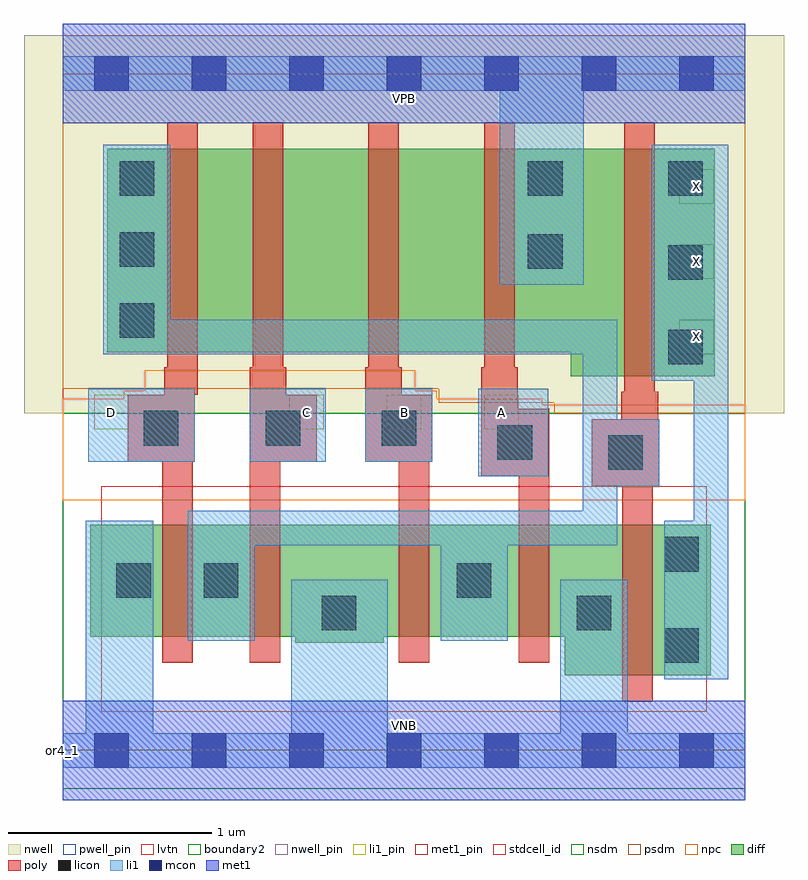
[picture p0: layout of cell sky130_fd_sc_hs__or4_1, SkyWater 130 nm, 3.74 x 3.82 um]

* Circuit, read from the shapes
.subckt sky130_fd_sc_hs__or4_1 A B C D VGND VNB VPB VPWR X
XM1 n1 D VGND VNB sky130_fd_pr__nfet_01v8_lvt w=0.55 l=0.15
XM2 VGND C n1 VNB sky130_fd_pr__nfet_01v8_lvt w=0.55 l=0.15
XM3 n1 B VGND VNB sky130_fd_pr__nfet_01v8_lvt w=0.55 l=0.15
XM4 VGND A n1 VNB sky130_fd_pr__nfet_01v8_lvt w=0.55 l=0.15
XM5 X n1 VGND VNB sky130_fd_pr__nfet_01v8_lvt w=0.74 l=0.15
XM6 n2 D n1 VPB sky130_fd_pr__pfet_01v8 w=1 l=0.15
XM7 n3 C n2 VPB sky130_fd_pr__pfet_01v8 w=1 l=0.15
XM8 n4 B n3 VPB sky130_fd_pr__pfet_01v8 w=1 l=0.15
XM9 VPWR A n4 VPB sky130_fd_pr__pfet_01v8 w=1 l=0.15
XM10 X n1 VPWR VPB sky130_fd_pr__pfet_01v8 w=1.12 l=0.15
.ends

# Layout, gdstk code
import gdstk
lib = gdstk.Library(unit=1e-6, precision=1e-09)
def R(c, l, rs):  # rectangles x0, y0, x1, y1
    for r in rs: c.add(gdstk.rectangle(r[:2], r[2:], *l))
def A(c, l, x, y, w, h, nx, ny, dx, dy):  # array of equal rectangles
    R(c, l, [(x+i*dx, y+j*dy, x+i*dx+w, y+j*dy+h) for i in range(nx) for j in range(ny)])
def P(c, l, *ps):  # polygons
    for p in ps: c.add(gdstk.Polygon(p, *l))
nwell_pin = (64, 16)
nwell = (64, 20)
diff = (65, 20)
poly = (66, 20)
licon = (66, 44)
li1_pin = (67, 16)
li1 = (67, 20)
mcon = (67, 44)
met1_pin = (68, 16)
met1 = (68, 20)
stdcell_id = (81, 4)
nsdm = (93, 44)
psdm = (94, 20)
npc = (95, 20)
pwell_pin = (122, 16)
lvtn = (125, 44)
boundary2 = (236, 0)

sky130_fd_sc_hs__or4_1 = lib.new_cell('sky130_fd_sc_hs__or4_1')
R(sky130_fd_sc_hs__or4_1, nwell_pin, [(0,3.085,3.36,3.33)])
R(sky130_fd_sc_hs__or4_1, nwell, [(-0.19,1.66,3.55,3.52)])
P(sky130_fd_sc_hs__or4_1, diff, [(3.19,1.11),(0.135,1.11),(0.135,0.56),(1.145,0.56),(1.145,0.53),(1.58,0.53),(1.58,0.56),(2.47,0.56),(2.47,0.37),(3.19,0.37)],
  [(3.21,2.96),(0.22,2.96),(0.22,1.96),(2.5,1.96),(2.5,1.84),(3.21,1.84)])
P(sky130_fd_sc_hs__or4_1, poly, [(0.665,3.09),(0.515,3.09),(0.515,1.885),(0.5,1.885),(0.5,1.75),(0.32,1.75),(0.32,1.42),(0.49,1.42),(0.49,0.43),(0.64,0.43),(0.64,1.42),(0.65,1.42),(0.65,1.75),(0.665,1.75)],
  [(1.25,1.75),(1.1,1.75),(1.1,1.885),(1.085,1.885),(1.085,3.09),(0.935,3.09),(0.935,1.885),(0.92,1.885),(0.92,0.43),(1.07,0.43),(1.07,1.42),(1.25,1.42)],
  [(1.82,1.75),(1.67,1.75),(1.67,1.885),(1.655,1.885),(1.655,3.09),(1.505,3.09),(1.505,1.885),(1.49,1.885),(1.49,1.42),(1.655,1.42),(1.655,0.43),(1.805,0.43),(1.805,1.42),(1.82,1.42)],
  [(2.395,1.68),(2.24,1.68),(2.24,1.885),(2.225,1.885),(2.225,3.09),(2.075,3.09),(2.075,1.885),(2.06,1.885),(2.06,1.35),(2.245,1.35),(2.245,0.43),(2.395,0.43)],
  [(2.935,1.63),(2.93,1.63),(2.93,1.765),(2.915,1.765),(2.915,3.09),(2.765,3.09),(2.765,1.765),(2.75,1.765),(2.75,1.63),(2.605,1.63),(2.605,1.3),(2.755,1.3),(2.755,0.24),(2.905,0.24),(2.905,1.3),(2.935,1.3)])
A(sky130_fd_sc_hs__or4_1, licon, 2.98, 1.9, 0.17, 0.17, 1, 3, 0, 0.415)
A(sky130_fd_sc_hs__or4_1, licon, 0.28, 2.03, 0.17, 0.17, 1, 3, 0, 0.35)
R(sky130_fd_sc_hs__or4_1, licon, [(2.96,0.43,3.13,0.6), (1.275,0.59,1.445,0.76), (2.53,0.59,2.7,0.76), (0.265,0.75,0.435,0.92), (0.695,0.75,0.865,0.92), (1.94,0.75,2.11,0.92), (2.96,0.88,3.13,1.05), (2.685,1.38,2.855,1.55), (2.14,1.43,2.31,1.6), (0.4,1.5,0.57,1.67), (1,1.5,1.17,1.67), (1.57,1.5,1.74,1.67), (2.29,2.37,2.46,2.54), (2.29,2.73,2.46,2.9)])
A(sky130_fd_sc_hs__or4_1, li1_pin, 1.115, 1.58, 0.17, 0.17, 3, 1, 0.48, 0)
A(sky130_fd_sc_hs__or4_1, li1_pin, 3.035, 1.95, 0.17, 0.17, 1, 3, 0, 0.37)
R(sky130_fd_sc_hs__or4_1, li1_pin, [(0.155,1.58,0.325,1.75)])
R(sky130_fd_sc_hs__or4_1, li1, [(2.045,1.35,2.39,1.78), (0.125,1.42,0.65,1.78), (0.92,1.42,1.295,1.78), (1.49,1.42,1.82,1.78)])
P(sky130_fd_sc_hs__or4_1, li1, [(2.15,2.29),(2.15,3.245),(0,3.245),(0,3.415),(3.36,3.415),(3.36,3.245),(2.565,3.245),(2.565,2.29)],
  [(1.125,0.085),(1.125,0.84),(1.6,0.84),(1.6,0.085),(2.45,0.085),(2.45,0.84),(2.78,0.84),(2.78,0.085),(3.36,0.085),(3.36,-0.085),(0,-0.085),(0,0.085),(0.115,0.085),(0.115,1.13),(0.445,1.13),(0.445,0.085)],
  [(2.73,1.01),(2.19,1.01),(2.19,0.54),(1.86,0.54),(1.86,1.01),(0.945,1.01),(0.945,0.54),(0.615,0.54),(0.615,1.18),(2.56,1.18),(2.56,1.95),(0.2,1.95),(0.2,2.98),(0.53,2.98),(0.53,2.12),(2.73,2.12),(2.73,1.63),(2.935,1.63),(2.935,1.3),(2.73,1.3)],
  [(3.105,1.13),(3.105,1.82),(2.9,1.82),(2.9,2.98),(3.275,2.98),(3.275,0.35),(2.96,0.35),(2.96,1.13)])
A(sky130_fd_sc_hs__or4_1, mcon, 0.155, -0.085, 0.17, 0.17, 7, 2, 0.48, 3.33)
R(sky130_fd_sc_hs__or4_1, met1_pin, [(0,0,3.36,0.245), (0,3.085,3.36,3.33)])
R(sky130_fd_sc_hs__or4_1, met1, [(0,-0.245,3.36,0.245), (0,3.085,3.36,3.575)])
R(sky130_fd_sc_hs__or4_1, stdcell_id, [(0,0,3.36,3.33)])
R(sky130_fd_sc_hs__or4_1, nsdm, [(0,-0.19,3.36,1.66)])
P(sky130_fd_sc_hs__or4_1, psdm, [(3.36,3.52),(0,3.52),(0,1.78),(1.85,1.78),(1.85,1.71),(2.42,1.71),(2.42,1.66),(3.36,1.66)])
P(sky130_fd_sc_hs__or4_1, npc, [(3.36,1.7),(2.36,1.7),(2.36,1.73),(1.84,1.73),(1.84,1.77),(1.735,1.77),(1.735,1.87),(0.405,1.87),(0.405,1.77),(0.3,1.77),(0.3,1.73),(0,1.73),(0,1.23),(3.36,1.23)])
R(sky130_fd_sc_hs__or4_1, pwell_pin, [(0,0,3.36,0.245)])
R(sky130_fd_sc_hs__or4_1, lvtn, [(0.19,0.19,3.17,1.3)])
R(sky130_fd_sc_hs__or4_1, boundary2, [(0,0,3.36,3.33)])
sky130_fd_sc_hs__or4_1.add(gdstk.Label('or4_1', (0,0), layer=83, texttype=44))
sky130_fd_sc_hs__or4_1.add(gdstk.Label('VNB', (1.68,0.123), layer=64, texttype=59))
sky130_fd_sc_hs__or4_1.add(gdstk.Label('VPB', (1.68,3.208), layer=64, texttype=5))
sky130_fd_sc_hs__or4_1.add(gdstk.Label('VPWR', (1.68,3.208), layer=68, texttype=5))
sky130_fd_sc_hs__or4_1.add(gdstk.Label('VGND', (1.68,0.123), layer=68, texttype=5))
sky130_fd_sc_hs__or4_1.add(gdstk.Label('D', (0.24,1.665), layer=67, texttype=5))
sky130_fd_sc_hs__or4_1.add(gdstk.Label('C', (1.2,1.665), layer=67, texttype=5))
sky130_fd_sc_hs__or4_1.add(gdstk.Label('A', (2.16,1.665), layer=67, texttype=5))
sky130_fd_sc_hs__or4_1.add(gdstk.Label('X', (3.12,2.035), layer=67, texttype=5))
sky130_fd_sc_hs__or4_1.add(gdstk.Label('X', (3.12,2.405), layer=67, texttype=5))
sky130_fd_sc_hs__or4_1.add(gdstk.Label('X', (3.12,2.775), layer=67, texttype=5))
sky130_fd_sc_hs__or4_1.add(gdstk.Label('B', (1.68,1.665), layer=67, texttype=5))

lib.write_gds('sky130_fd_sc_hs__or4_1.gds')
